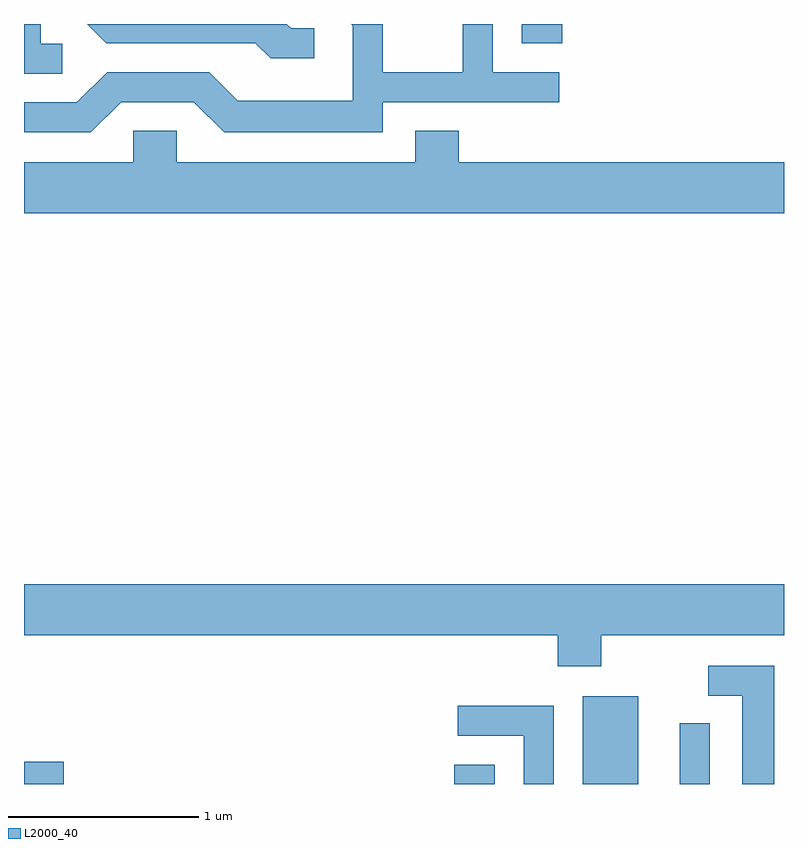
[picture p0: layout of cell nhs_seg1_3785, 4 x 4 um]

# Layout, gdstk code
import gdstk
lib = gdstk.Library(unit=1e-6, precision=1e-09)
def R(c, l, rs):  # rectangles x0, y0, x1, y1
    for r in rs: c.add(gdstk.rectangle(r[:2], r[2:], *l))
def P(c, l, *ps):  # polygons
    for p in ps: c.add(gdstk.Polygon(p, *l))
L2000_40 = (2000, 40)

nhs_seg1_3785 = lib.new_cell('nhs_seg1_3785')
R(nhs_seg1_3785, L2000_40, [(299.611,867.712,299.819,867.829), (301.876,867.712,302.089,867.814), (302.551,867.712,302.844,868.174), (303.061,867.712,303.219,868.033), (302.231,871.611,302.444,871.712)])
P(nhs_seg1_3785, L2000_40, [(299.813,871.609),(299.699,871.609),(299.699,871.712),(299.611,871.712),(299.611,871.451),(299.813,871.451)],
  [(301.138,871.689),(301.017,871.689),(300.994,871.712),(299.943,871.712),(300.044,871.611),(300.829,871.611),(300.909,871.531),(301.138,871.531)],
  [(300.122,871.301),(300.504,871.301),(300.664,871.141),(301.499,871.141),(301.499,871.301),(302.428,871.301),(302.428,871.459),(302.079,871.459),(302.079,871.712),(301.921,871.712),(301.921,871.459),(301.499,871.459),(301.499,871.712),(301.333,871.712),(301.341,871.704),(301.341,871.309),(300.737,871.309),(300.587,871.459),(300.049,871.459),(299.889,871.299),(299.611,871.299),(299.611,871.141),(299.962,871.141)],
  [(303.611,870.984),(301.899,870.984),(301.899,871.149),(301.671,871.149),(301.671,870.984),(300.414,870.984),(300.414,871.149),(300.186,871.149),(300.186,870.984),(299.611,870.984),(299.611,870.716),(303.611,870.716)],
  [(302.649,868.496),(303.611,868.496),(303.611,868.764),(299.611,868.764),(299.611,868.496),(302.421,868.496),(302.421,868.331),(302.649,868.331)],
  [(303.559,868.334),(303.213,868.334),(303.213,868.176),(303.391,868.176),(303.391,867.712),(303.559,867.712)],
  [(302.399,868.124),(301.893,868.124),(301.893,867.966),(302.241,867.966),(302.241,867.712),(302.399,867.712)])

lib.write_gds('nhs_seg1_3785.gds')
